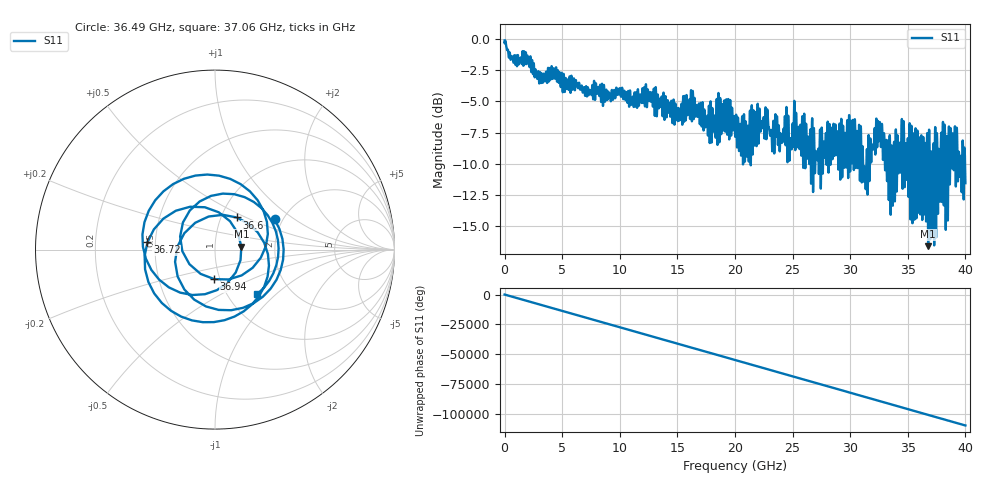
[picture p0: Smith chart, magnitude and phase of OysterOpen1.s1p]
! File created by SignalIntegrity v1.1.1: Signal and Power Integrity Tools
! https://github.com/TeledyneLeCroy/SignalIntegrity
# MHz MA S R 50.0
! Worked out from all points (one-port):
!   8000 points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, 5 MHz to 40 GHz, reference 50 ohm
!   lowest |S11| = -16.6 dB at 36.77 GHz (marker M1), VSWR 1.35, Z = 67.2 + j2.35 ohm
!   |S11| at or under -10 dB: 31.12 GHz to 31.41 GHz (293.1 MHz wide, 0.938 % of centre); 33.65153 GHz to 33.74831 GHz (96.78 MHz wide, 0.287 % of centre); 37.07976 GHz to 37.17432 GHz (94.56 MHz wide, 0.255 % of centre)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
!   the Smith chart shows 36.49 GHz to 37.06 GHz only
!   S11 on the Smith chart (normalised r, x): 36.49 GHz: 1.82, +0.71; 36.6 GHz: 1.18, +0.44; 36.72 GHz: 0.45, +0.04; 36.94 GHz: 0.94, -0.32; 37.06 GHz: 1.37, -0.77
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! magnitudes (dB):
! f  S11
! 5 MHz  -0.1
! 2.995 GHz  -3.5
! 5.005 GHz  -3.3
! 10.01 GHz  -3.9
! 15.01 GHz  -6.2
! 16.34 GHz  -4.2
! 17.64 GHz  -7.4
! 20 GHz  -7.7
! 21.03 GHz  -9.2
! 22.12 GHz  -5.6
! 25 GHz  -6.8
! 27.11 GHz  -9.5
! 28.55 GHz  -6.8
! 30 GHz  -10.2
! 30.75 GHz  -7.3
! 31.34 GHz  -12.0
! 32.42 GHz  -6.6
! 33.52 GHz  -13.6
! 34.48 GHz  -6.5
! 35.01 GHz  -8.0
! 36.49 GHz  -8.6
! 36.6 GHz  -13.3
! 36.72 GHz  -8.4
! 36.77 GHz  -16.6
! 36.94 GHz  -15.7
! 37.06 GHz  -9.3
! 38.91 GHz  -7.8
! 40 GHz  -11.6
